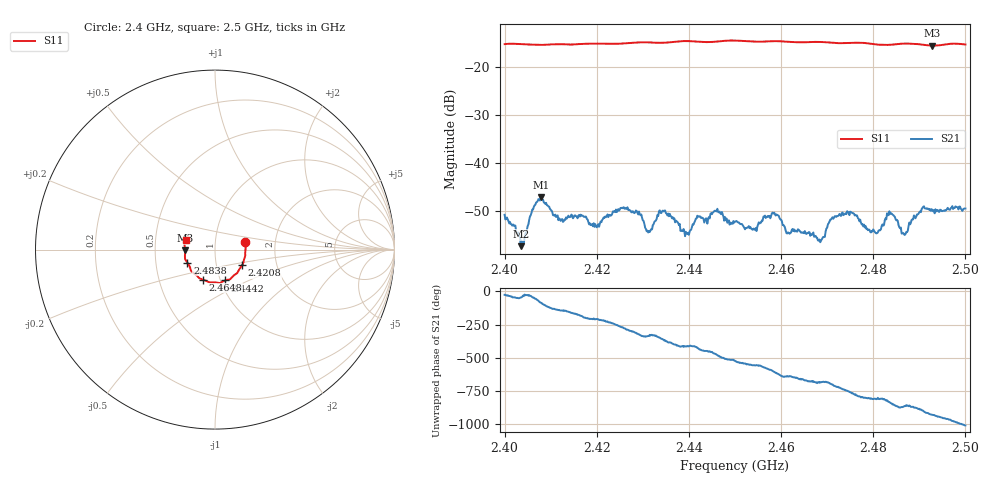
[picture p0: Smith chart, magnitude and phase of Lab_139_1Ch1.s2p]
# Hz S RI R 50
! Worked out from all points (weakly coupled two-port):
!   601 points, 2.4 GHz to 2.5 GHz, reference 50 ohm
!   highest |S21| = -47.05 dB at 2.408 GHz (marker M1); lowest = -57.3 dB at 2.4035 GHz (marker M2)
!   lowest |S11| = -15.6 dB at 2.4928 GHz (marker M3), VSWR 1.40, Z = 35.8 - j0.363 ohm
!   |S11| at or under -10 dB: start of sweep to end of sweep
!   S12 and S22 are empty: the file has one direction only
!   S11 on the Smith chart (normalised r, x): 2.4 GHz: 1.40, +0.12; 2.4208 GHz: 1.33, -0.24; 2.4442 GHz: 1.05, -0.37; 2.4648 GHz: 0.83, -0.29; 2.4838 GHz: 0.73, -0.11; 2.5 GHz: 0.72, +0.08
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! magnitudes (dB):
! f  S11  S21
! 2.4 GHz  -15.3  -50.7
! 2.4035 GHz  -15.3  -57.3
! 2.408 GHz  -15.4  -47.0
! 2.4122 GHz  -15.3  -52.0
! 2.4167 GHz  -15.2  -50.9
! 2.4208 GHz  -15.2  -52.1
! 2.4262 GHz  -15.1  -49.5
! 2.4313 GHz  -14.9  -54.1
! 2.4333 GHz  -15.0  -51.0
! 2.4395 GHz  -14.6  -54.6
! 2.4442 GHz  -14.9  -51.5
! 2.45 GHz  -14.5  -52.2
! 2.4585 GHz  -14.7  -50.3
! 2.4648 GHz  -14.9  -54.4
! 2.4667 GHz  -14.8  -54.9
! 2.4748 GHz  -15.0  -50.8
! 2.4808 GHz  -15.4  -54.6
! 2.4833 GHz  -15.4  -50.8
! 2.4838 GHz  -15.4  -50.4
! 2.4867 GHz  -15.2  -54.8
! 2.4928 GHz  -15.6  -49.9
! 2.5 GHz  -15.4  -49.4
